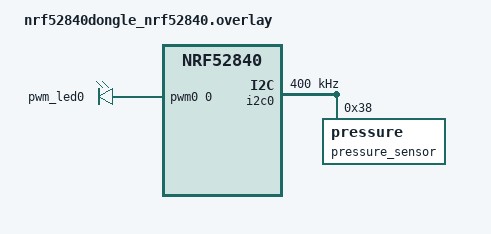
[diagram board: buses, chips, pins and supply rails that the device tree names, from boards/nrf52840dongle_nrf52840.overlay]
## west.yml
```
# Copyright (c) 2023 Sword Health
#
# Bloom project manifest T2 topology
#


manifest:
  remotes:
    # NRF Connect SDK GitHub organization.
    # NCS repositories are hosted here.
    - name: ncs
      url-base: https://github.com/nrfconnect
  defaults:
    remote: ncs

  # Main bloom application
  self:
      path: breathe

  projects:
    # repo containing the sdk
    - name: nrf
      repo-path: sdk-nrf
      revision: v2.5.0
      path: nrf
      west-commands: scripts/west-commands.yml

      # list of tools imported by NCS that we are not using (blocklist)
      # keeping them here if we require any of them in the future
      import:
        name-blocklist:
          - net-tools
          - matter
          - azure-sdk-for-c
          - TraceRecorderSource
          - zscilib
          - uoscore-uedhoc
          - tf-m-tests
          - psa-arch-tests
          - tinycbor
          - open-amp
          - mipi-sys-t
          - loramac-node
          - lvgl
          - liblc3
          - hal_wurthelektronik
          - libmetal
          - lz4
          - cmock
          - cjson
          - sdk-hostap
          - chre
          - canopennode
          - openthread
          - cirrus
          - memfault-firmware-sdk
          - littlefs
          - hal_st
          - fatfs
          - edtt
          - picolibc
          - trusted-firmware-m
```

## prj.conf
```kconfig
CONFIG_BT=y
CONFIG_LOG=y
CONFIG_BT_SMP=y
CONFIG_BT_PERIPHERAL=y
CONFIG_BT_DIS=y
CONFIG_BT_DIS_PNP=n
CONFIG_BT_BAS=y
CONFIG_BT_HRS=y
CONFIG_BT_DEVICE_NAME="Breathe TEAM"
CONFIG_BT_DEVICE_APPEARANCE=833
CONFIG_I2C=y
CONFIG_PWM=y
```

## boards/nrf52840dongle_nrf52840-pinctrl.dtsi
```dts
// Copyright (c) 2023 Sword Health

&pinctrl {

    i2c0_default: i2c0_default {
        group1 {
            psels = <NRF_PSEL(TWIM_SDA, 0, 29)>,
                    <NRF_PSEL(TWIM_SCL, 0, 31)>;
            bias-pull-up;
        };
    };

    i2c0_sleep: i2c0_sleep {
        group1 {
            psels = <NRF_PSEL(TWIM_SDA, 0, 29)>,
                    <NRF_PSEL(TWIM_SCL, 0, 31)>;
            low-power-enable;
        };
    };

    	pwm0_default: pwm0_default {
		group1 {
			psels = <NRF_PSEL(PWM_OUT0, 0, 2)>;
			nordic,invert;
		};
	};

	pwm0_sleep: pwm0_sleep {
		group1 {
			psels = <NRF_PSEL(PWM_OUT0, 0, 2)>;
			low-power-enable;
		};
	};
  };
```

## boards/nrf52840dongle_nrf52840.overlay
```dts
#include "nrf52840dongle_nrf52840-pinctrl.dtsi"

/ {
	pwmleds {
		compatible = "pwm-leds";
		pwm_led0: pwm_led_0 {
			pwms = <&pwm0 0 PWM_MSEC(20) PWM_POLARITY_INVERTED>;
		};
	};
};



&i2c0 {
	compatible = "nordic,nrf-twi";
	/* Cannot be used together with spi1. */
	status = "okay";
	pinctrl-0 = <&i2c0_default>;
	pinctrl-1 = <&i2c0_sleep>;
	pinctrl-names = "default", "sleep";
	clock-frequency = <I2C_BITRATE_FAST>;

	pressure_sensor: pressure@38 {
		status = "okay";
		compatible = "pressure";
		reg = <0x38>;
	};
};
```

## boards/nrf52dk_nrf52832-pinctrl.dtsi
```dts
// Copyright (c) 2023 Sword Health

&pinctrl {

    i2c0_default: i2c0_default {
        group1 {
            psels = <NRF_PSEL(TWIM_SDA, 0, 3)>,
                    <NRF_PSEL(TWIM_SCL, 0, 4)>;
            bias-pull-up;
        };
    };

    i2c0_sleep: i2c0_sleep {
        group1 {
            psels = <NRF_PSEL(TWIM_SDA, 0, 3)>,
                    <NRF_PSEL(TWIM_SCL, 0, 4)>;
            low-power-enable;
        };
    };

    	pwm0_default: pwm0_default {
		group1 {
			psels = <NRF_PSEL(PWM_OUT0, 0, 17)>;
			nordic,invert;
		};
	};

	pwm0_sleep: pwm0_sleep {
		group1 {
			psels = <NRF_PSEL(PWM_OUT0, 0, 17)>;
			low-power-enable;
		};
	};
  };
```

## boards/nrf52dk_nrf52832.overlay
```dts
#include "nrf52dk_nrf52832-pinctrl.dtsi"

/ {

	pwmleds {
		compatible = "pwm-leds";
		pwm_led0: pwm_led_0 {
			pwms = <&pwm0 0 PWM_MSEC(20) PWM_POLARITY_INVERTED>;
		};
	};
};



&i2c0 {
	compatible = "nordic,nrf-twi";
	/* Cannot be used together with spi1. */
	status = "okay";
	pinctrl-0 = <&i2c0_default>;
	pinctrl-1 = <&i2c0_sleep>;
	pinctrl-names = "default", "sleep";
	clock-frequency = <I2C_BITRATE_FAST>;

	pressure_sensor: pressure@38 {
		status = "okay";
		compatible = "pressure";
		reg = <0x38>;
	};
};
```

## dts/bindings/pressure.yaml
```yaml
# Copyright (c) 2022 Nordic Semiconductor ASA
# SPDX-License-Identifier: Apache-2.0

description: Motor controller embedded in DFRobot Maqueen.

compatible: "pressure"

include: i2c-device.yaml
```

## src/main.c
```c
/* main.c - Application main entry point */

/*
 * Copyright (c) 2015-2016 Intel Corporation
 *
 * SPDX-License-Identifier: Apache-2.0
 */

#include <errno.h>
#include <stddef.h>
#include <string.h>
#include <zephyr/kernel.h>
#include <zephyr/sys/byteorder.h>
#include <zephyr/sys/printk.h>
#include <zephyr/types.h>

#include <zephyr/bluetooth/bluetooth.h>
#include <zephyr/bluetooth/conn.h>
#include <zephyr/bluetooth/gatt.h>
#include <zephyr/bluetooth/hci.h>
#include <zephyr/bluetooth/services/bas.h>
#include <zephyr/bluetooth/services/hrs.h>
#include <zephyr/bluetooth/uuid.h>
#include <zephyr/drivers/pwm.h>

static const struct bt_data ad[] = {
    BT_DATA_BYTES(BT_DATA_FLAGS, (BT_LE_AD_GENERAL | BT_LE_AD_NO_BREDR)),
    BT_DATA_BYTES(BT_DATA_UUID16_ALL, BT_UUID_16_ENCODE(BT_UUID_HRS_VAL),
                  BT_UUID_16_ENCODE(BT_UUID_BAS_VAL),
                  BT_UUID_16_ENCODE(BT_UUID_DIS_VAL))};

bool fsr_notification_on = false;

#define STEP PWM_USEC(100)

enum direction {
  DOWN,
  UP,
};

uint32_t min_pulse = PWM_USEC(0);

uint32_t max_pulse = PWM_USEC(4000);

uint32_t pulse_width = PWM_USEC(2000);

static const struct pwm_dt_spec pwm_led0 = PWM_DT_SPEC_GET(DT_ALIAS(pwm_led0));

/**
 * @brief UUID value for the Bloom Pod Force data characteristic
 * UUID: f93f1b1a-b069-437d-adb8-11e58aa15a6b
 */
#define BLOOM_POD_FORCE_BT_UUID_VAL                                            \
  BT_UUID_128_ENCODE(0xf93f1b1a, 0xb069, 0x437d, 0xadb8, 0x11e58aa15a6b)

/**
 * @brief UUID for the Bloom Pod Force data characteristic
 * This is the BLE force characteristic that will be available on the final
 * product
 */
#define BLOOM_POD_FORCE_BT_UUID BT_UUID_DECLARE_128(BLOOM_POD_FORCE_BT_UUID_VAL)

#define BLOOM_POD_SENSORS_BT_UUID_PRIMARY_VAL                                  \
  BT_UUID_128_ENCODE(0xf93f1b19, 0xb069, 0x437d, 0xadb8, 0x11e58aa15a6b)

/**
 * @brief UUID for the Bloom Pod Sensors service
 * This is the service that will be available on the final product
 */
#define BLOOM_POD_SENSORS_BT_UUID_PRIMARY                                      \
  BT_UUID_DECLARE_128(BLOOM_POD_SENSORS_BT_UUID_PRIMARY_VAL)

/**
 * @brief UUID value for the Bloom Pod Force data characteristic
 * UUID: f93f1b1a-b069-437d-adb8-11e58aa15a6b
 */
#define BLOOM_POD_MOTOR_BT_UUID_VAL                                            \
  BT_UUID_128_ENCODE(0xf93f1b1c, 0xb069, 0x437d, 0xadb8, 0x11e58aa15a6b)

/**
 * @brief UUID for the Bloom Pod Force data characteristic
 * This is the BLE force characteristic that will be available on the final
 * product
 */
#define BLOOM_POD_MOTOR_BT_UUID BT_UUID_DECLARE_128(BLOOM_POD_MOTOR_BT_UUID_VAL)

/** @brief Callback function that detects fsr notifications have been
 * enabled.
 */
static void fsr_notification_ccc_cfg_changed(const struct bt_gatt_attr *attr,
                                             uint16_t value) {
  ARG_UNUSED(attr);
  fsr_notification_on = (value == BT_GATT_CCC_NOTIFY);
  if (fsr_notification_on) {
    // This characteristic is relevant for inactivity. Track the subscription
    printk("Pressure notifications enabled\n");
  } else {
    // This characteristic is relevant for inactivity. Track the unsubscription
    printk("Pressure notifications disabled\n");
  }
}

static ssize_t commands_write_cb(struct bt_conn *conn,
                                 const struct bt_gatt_attr *attr,
                                 const void *buf, uint16_t len, uint16_t offset,
                                 uint8_t flags) {
  ARG_UNUSED(conn);

  // convert first two bytes of buf to
  uint16_t pwm_value;
  memcpy(&pwm_value, buf, 1);

  if (pwm_value >= 10 && pwm_value <= 40) {

    pulse_width = STEP * pwm_value + min_pulse;
    pwm_set_pulse_dt(&pwm_led0, pulse_width);
  } else {
    printk("Invalid PWM value: %d\n", pwm_value);
  }

  printk("PWM value: %d\n", pwm_value);

  return 0;
}

/** @brief Callback function that detects fsr notifications have bee

/* Device Primary/Secondary services declaration */
BT_GATT_SERVICE_DEFINE(
    primary_svc_pod_sensors,
    BT_GATT_PRIMARY_SERVICE(BLOOM_POD_SENSORS_BT_UUID_PRIMARY),
    BT_GATT_CHARACTERISTIC(BLOOM_POD_FORCE_BT_UUID, BT_GATT_CHRC_NOTIFY,
                           BT_GATT_PERM_NONE, NULL, NULL, NULL),
    BT_GATT_CCC(fsr_notification_ccc_cfg_changed,
                BT_GATT_PERM_READ | BT_GATT_PERM_WRITE),

    BT_GATT_CHARACTERISTIC(BLOOM_POD_MOTOR_BT_UUID, BT_GATT_CHRC_WRITE,
                           BT_GATT_PERM_WRITE, NULL, commands_write_cb, NULL),

);

static void connected(struct bt_conn *conn, uint8_t err) {
  if (err) {
    printk("Connection failed (err 0x%02x)\n", err);
  } else {
    printk("Connected\n");
  }
}

// define a struct for the force sensor data
struct force_sensor_data {
  uint32_t fsr;
};

int bt_send_fsr_notification(int32_t fsr) {
  int err = 0;
  static int32_t value = 40;

  value = fsr;

  // Send the encoded message
  err = bt_gatt_notify(NULL, &primary_svc_pod_sensors.attrs[2], &value,
                       sizeof(int32_t));

  return err;
}

static void disconnected(struct bt_conn *conn, uint8_t reason) {
  printk("Disconnected (reason 0x%02x)\n", reason);
}

BT_CONN_CB_DEFINE(conn_callbacks) = {
    .connected = connected,
    .disconnected = disconnected,
};

static void bt_ready(void) {
  int err;

  printk("Bluetooth initialized\n");

  err = bt_le_adv_start(BT_LE_ADV_CONN_NAME, ad, ARRAY_SIZE(ad), NULL, 0);
  if (err) {
    printk("Advertising failed to start (err %d)\n", err);
    return;
  }

  printk("Advertising successfully started\n");
}

static void auth_cancel(struct bt_conn *conn) {
  char addr[BT_ADDR_LE_STR_LEN];

  bt_addr_le_to_str(bt_conn_get_dst(conn), addr, sizeof(addr));

  printk("Pairing cancelled: %s\n", addr);
}

static struct bt_conn_auth_cb auth_cb_display = {
    .cancel = auth_cancel,
};

static void bas_notify(void) {
  uint8_t battery_level = bt_bas_get_battery_level();

  battery_level--;

  if (!battery_level) {
    battery_level = 100U;
  }

  bt_bas_set_battery_level(battery_level);
}

int main(void) {
  int err;

  enum direction dir = UP;

  err = bt_enable(NULL);
  if (err) {
    printk("Bluetooth init failed (err %d)\n", err);
    return 0;
  }

  bt_ready();

  bt_conn_auth_cb_register(&auth_cb_display);

  if (!pwm_is_ready_dt(&pwm_led0)) {
    printk("Error: PWM device %s is not ready\n", pwm_led0.dev->name);
    return 0;
  }

  /* Implement notification. At the moment there is no suitable way
   * of starting delayed work so we do it here
   */

  while (1) {
    k_sleep(K_MSEC(250));

    // pwm_set_pulse_dt(&pwm_led0, pulse_width);

    /* Battery level simulation */
    bas_notify();

    continue;

    if (dir == DOWN) {
      if (pulse_width <= min_pulse) {
        dir = UP;
        pulse_width = min_pulse;
      } else {
        pulse_width -= STEP;
      }
    } else {
      pulse_width += STEP;

      if (pulse_width >= max_pulse) {
        dir = DOWN;
        pulse_width = max_pulse;
      }
    }
  }
  return 0;
}
```

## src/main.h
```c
#include <stdint.h>

int bt_send_fsr_notification(uint32_t fsr);
```

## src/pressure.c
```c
#include <zephyr/devicetree.h>
#include <zephyr/drivers/i2c.h>
#include <zephyr/kernel.h>
#include <zephyr/sys/printk.h>

#include <zephyr/types.h>

#include "main.h"

// Thread stack size
#define TEMP_THREAD_STACK_SIZE 1024
#define DT_DRV_COMPAT pressure

struct i2c_dt_spec i2c = I2C_DT_SPEC_GET(DT_NODELABEL(pressure_sensor));

enum direction {
  DOWN,
  UP,
};

void temp_thread(void) {
  uint8_t sensor_data[3];

  if (!device_is_ready(i2c.bus)) {
    printk("Motor controller I2C bus not ready.\n");
    return;
  }

  int16_t pressure;
  // bool direction = UP;
  while (1) {

    //   if (pressure > 8000) {
    //     direction = DOWN;
    //   } else if (pressure < -8000) {
    //     direction = UP;
    //   }

    //   if (direction == UP) {
    //     pressure += 100;
    //   } else {
    //     pressure -= 100;
    //   }

    // read from the sensor
    k_sleep(K_MSEC(10));

    i2c_read_dt(&i2c, sensor_data, sizeof(sensor_data));
    pressure = (((sensor_data[0] << 8) | sensor_data[1]) - 8192) * -3;
    bt_send_fsr_notification(pressure);

    printk("Pressure: %d\n", pressure);
  }
}

// main ACC_thread
K_THREAD_DEFINE(temp_id, TEMP_THREAD_STACK_SIZE, temp_thread, NULL, NULL, NULL,
                6, 0, 0);
```
